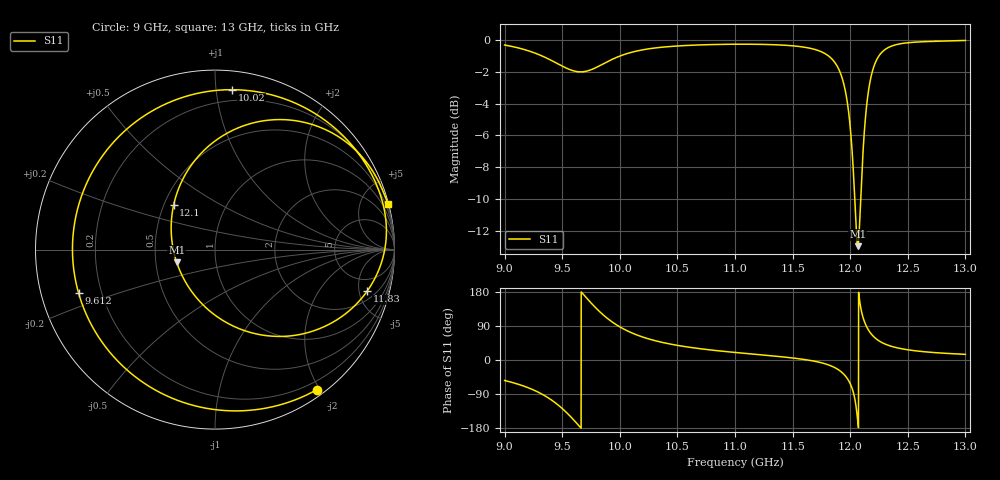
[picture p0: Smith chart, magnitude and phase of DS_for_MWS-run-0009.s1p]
! TOUCHSTONE file generated by CST DESIGN STUDIO
! Date and time: Tue Feb  4 13:53:42 2025
! Project name: C:\Work\MatlabApps\UnitCellOptimizationMatlab\CST\unitcell.cst
! Tree item: Tasks\Sweep1\SPara1\S-Parameters
! Header version: 2024
! Port assignment regex: !\s*Touchstone port\s*([0-9]+)\s*=\s*(CST MWS port|CST DES external port|CST DES block port)\s*(.+)\s* \(\"(.*)\"\)(\s*mode\s*([0-9]+))?.*
! Touchstone port assignment:
! Touchstone port 1 = CST DES external port 1 ("")
# GHz S MA R 50
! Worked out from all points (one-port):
!   4001 points, 9 GHz to 13 GHz, reference 50 ohm
!   lowest |S11| = -13.0 dB at 12.07 GHz (marker M1), VSWR 1.58, Z = 32.1 - j4.77 ohm
!   |S11| at or under -10 dB: 12.03973 GHz to 12.09116 GHz (51.43 MHz wide, 0.426 % of centre)
!   S11 on the Smith chart (normalised r, x): 9 GHz: 0.09, -1.96; 9.612 GHz: 0.12, -0.15; 10.02 GHz: 0.12, +1.10; 11.83 GHz: 2.96, -6.02; 12.1 GHz: 0.56, +0.32; 13 GHz: 0.09, +7.65
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9  0.9646 -54.0
9.164  0.9351 -68.6
9.316  0.894 -88.7
9.414  0.86 -107.1
9.5  0.8282 -128.0
9.612  0.7978 -162.2
9.71  0.7981 164.1
9.82  0.8285 129.0
9.904  0.8592 107.1
10  0.8904 87.4
10.02  0.8959 84.0
10.229  0.9357 57.6
10.5  0.9579 38.6
11  0.9702 19.9
11.5  0.9592 5.4
11.692  0.9344 -3.3
11.832  0.8786 -15.3
11.927  0.7654 -32.4
12  0.5334 -62.5
12.033  0.3545 -92.3
12.066  0.2248 -161.7
12.095  0.3398 132.6
12.14  0.6092 89.5
12.189  0.7884 66.5
12.242  0.883 52.1
12.305  0.935 41.8
12.5  0.9806 26.9
13  0.997 14.9
